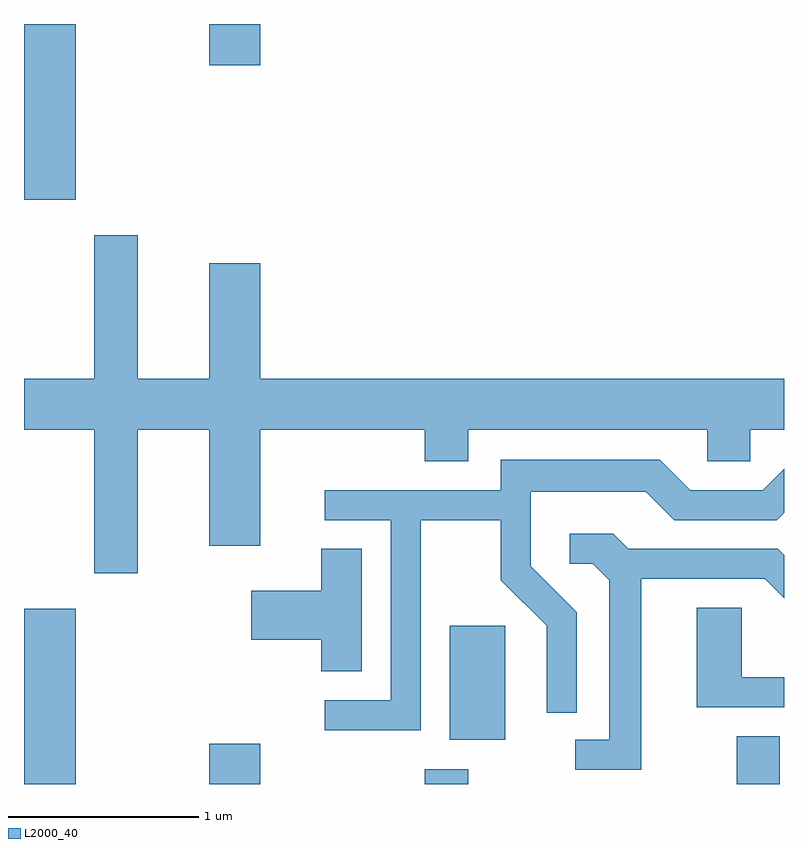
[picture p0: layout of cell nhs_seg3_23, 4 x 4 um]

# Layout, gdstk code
import gdstk
lib = gdstk.Library(unit=1e-6, precision=1e-09)
def R(c, l, rs):  # rectangles x0, y0, x1, y1
    for r in rs: c.add(gdstk.rectangle(r[:2], r[2:], *l))
def P(c, l, *ps):  # polygons
    for p in ps: c.add(gdstk.Polygon(p, *l))
L2000_40 = (2000, 40)

nhs_seg3_23 = lib.new_cell('nhs_seg3_23')
R(nhs_seg3_23, L2000_40, [(185.611,1161.892,185.884,1162.814), (186.586,1161.892,186.854,1162.104), (187.721,1161.892,187.949,1161.969), (189.361,1161.892,189.589,1162.144), (187.851,1162.126,188.144,1162.724), (185.611,1164.966,185.884,1165.892), (186.586,1165.676,186.854,1165.892)])
P(nhs_seg3_23, L2000_40, [(186.209,1163.756),(186.586,1163.756),(186.586,1163.146),(186.854,1163.146),(186.854,1163.756),(187.721,1163.756),(187.721,1163.591),(187.949,1163.591),(187.949,1163.756),(189.206,1163.756),(189.206,1163.591),(189.434,1163.591),(189.434,1163.756),(189.611,1163.756),(189.611,1164.024),(186.854,1164.024),(186.854,1164.634),(186.586,1164.634),(186.586,1164.024),(186.209,1164.024),(186.209,1164.779),(185.981,1164.779),(185.981,1164.024),(185.611,1164.024),(185.611,1163.756),(185.981,1163.756),(185.981,1163.001),(186.209,1163.001)],
  [(187.699,1163.281),(188.121,1163.281),(188.121,1162.964),(188.361,1162.724),(188.361,1162.268),(188.519,1162.268),(188.519,1162.797),(188.279,1163.037),(188.279,1163.431),(188.884,1163.431),(189.034,1163.281),(189.572,1163.281),(189.611,1163.32),(189.611,1163.551),(189.499,1163.439),(189.117,1163.439),(188.957,1163.599),(188.121,1163.599),(188.121,1163.439),(187.193,1163.439),(187.193,1163.281),(187.541,1163.281),(187.541,1162.334),(187.193,1162.334),(187.193,1162.176),(187.699,1162.176)],
  [(188.859,1162.971),(189.509,1162.971),(189.611,1162.869),(189.611,1163.095),(189.577,1163.129),(188.792,1163.129),(188.712,1163.209),(188.483,1163.209),(188.483,1163.051),(188.604,1163.051),(188.691,1162.964),(188.691,1162.124),(188.513,1162.124),(188.513,1161.966),(188.859,1161.966)],
  [(187.389,1163.129),(187.176,1163.129),(187.176,1162.909),(186.806,1162.909),(186.806,1162.651),(187.176,1162.651),(187.176,1162.486),(187.389,1162.486)],
  [(189.611,1162.454),(189.389,1162.454),(189.389,1162.819),(189.151,1162.819),(189.151,1162.296),(189.611,1162.296)])

lib.write_gds('nhs_seg3_23.gds')
